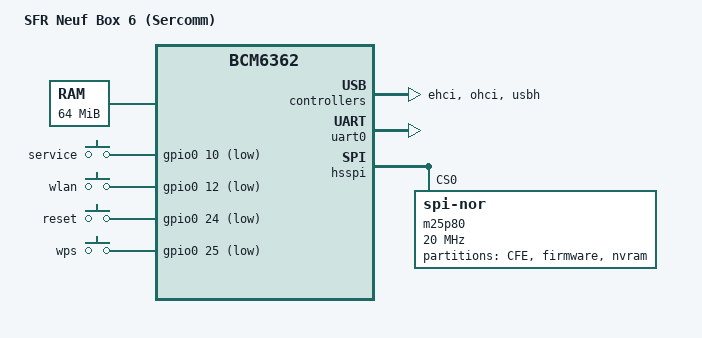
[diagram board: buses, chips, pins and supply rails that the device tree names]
/dts-v1/;

#include "bcm6362.dtsi"

/ {
	compatible = "sfr,nb6-ser", "brcm,bcm6362";
	model = "SFR Neuf Box 6 (Sercomm)";

	chosen {
		bootargs = "console=ttyS0,115200 earlycon";
	};

	memory@0 {
		device_type = "memory";
		reg = <0x00000000 0x04000000>;
	};

	gpio-keys-polled {
		compatible = "gpio-keys-polled";
		#address-cells = <1>;
		#size-cells = <0>;
		poll-interval = <20>;
		debounce-interval = <60>;

		service {
			label = "service";
			gpios = <&gpio0 10 1>;
			linux,code = <BTN_0>;
		};
		wlan {
			label = "wlan";
			gpios = <&gpio0 12 1>;
			linux,code = <KEY_WLAN>;
		};
		reset {
			label = "reset";
			gpios = <&gpio0 24 1>;
			linux,code = <KEY_RESTART>;
		};
		wps {
			label = "wps";
			gpios = <&gpio0 25 1>;
			linux,code = <KEY_WPS_BUTTON>;
		};
	};
};

&ehci {
	status = "ok";
};

&ohci {
	status = "ok";
};

&uart0 {
	status = "ok";
};


&hsspi {
	status = "okay";

	m25p80@0 {
		compatible = "jedec,spi-nor";
		reg = <0>;

		spi-max-frequency = <20000000>;
		spi-tx-bus-width = <2>;
		spi-rx-bus-width = <2>;

		partitions {
			compatible = "fixed-partitions";
			#address-cells = <1>;
			#size-cells = <1>;

			cfe@0 {
				label = "CFE";
				reg = <0x000000 0x010000>;
				read-only;
			};
			firmware@10000 {
				label = "firmware";
				reg = <0x010000 0xfe0000>;
			};
			nvram@ff0000 {
				label = "nvram";
				reg = <0xff0000 0x010000>;
				read-only;
			};
		};
	};
};

&usbh {
	status = "ok";
};
